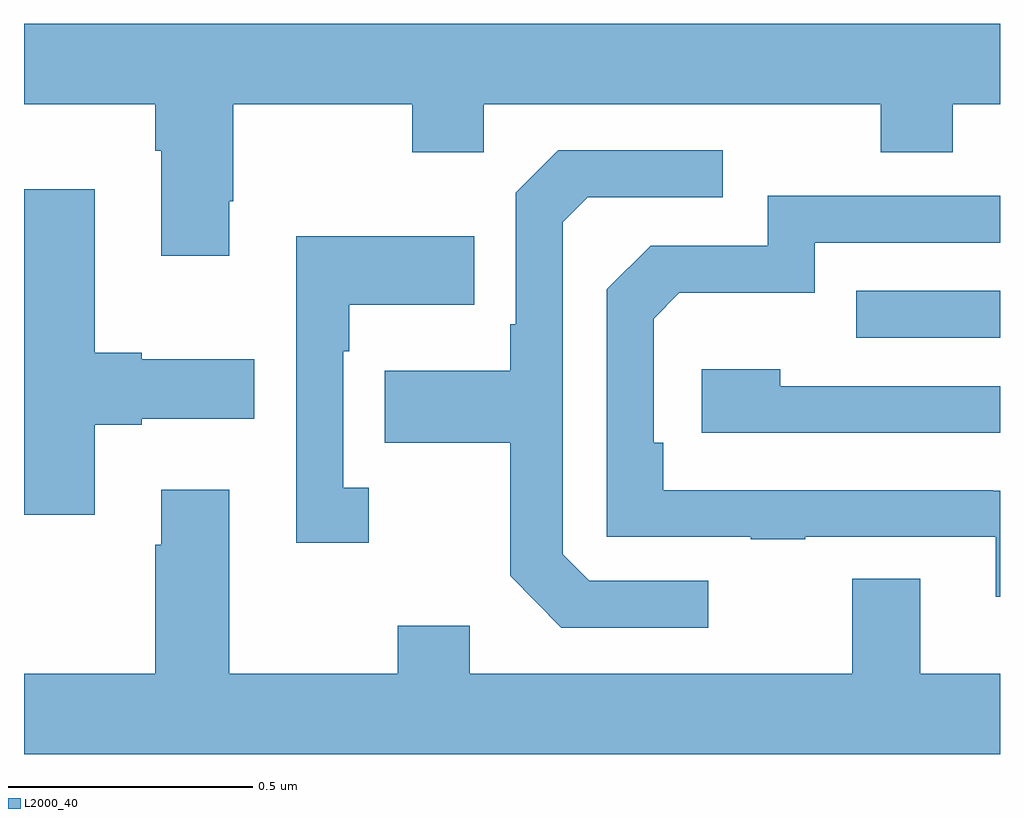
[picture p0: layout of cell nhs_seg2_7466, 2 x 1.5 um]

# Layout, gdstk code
import gdstk
lib = gdstk.Library(unit=1e-6, precision=1e-09)
def R(c, l, rs):  # rectangles x0, y0, x1, y1
    for r in rs: c.add(gdstk.rectangle(r[:2], r[2:], *l))
def P(c, l, *ps):  # polygons
    for p in ps: c.add(gdstk.Polygon(p, *l))
L2000_40 = (2000, 40)

nhs_seg2_7466 = lib.new_cell('nhs_seg2_7466')
R(nhs_seg2_7466, L2000_40, [(205.705,637.833,206,637.929)])
P(nhs_seg2_7466, L2000_40, [(204.421,638.113),(204.429,638.113),(204.429,638.312),(204.796,638.312),(204.796,638.213),(204.942,638.213),(204.942,638.312),(205.756,638.312),(205.756,638.213),(205.903,638.213),(205.903,638.312),(206,638.312),(206,638.476),(204,638.476),(204,638.312),(204.269,638.312),(204.269,638.216),(204.281,638.216),(204.281,638.001),(204.421,638.001)],
  [(205.402,637.335),(205.158,637.335),(205.104,637.389),(205.104,638.07),(205.155,638.121),(205.432,638.121),(205.432,638.217),(205.095,638.217),(205.008,638.13),(205.008,637.861),(204.996,637.861),(204.996,637.765),(204.739,637.765),(204.739,637.618),(204.996,637.618),(204.996,637.345),(205.101,637.239),(205.402,637.239)],
  [(204.145,637.655),(204.241,637.655),(204.241,637.667),(204.472,637.667),(204.472,637.789),(204.241,637.789),(204.241,637.802),(204.145,637.802),(204.145,638.137),(204,638.137),(204,637.47),(204.145,637.47)],
  [(206,637.52),(205.985,637.52),(205.985,637.521),(205.31,637.521),(205.31,637.618),(205.29,637.618),(205.29,637.872),(205.343,637.925),(205.62,637.925),(205.62,638.028),(206,638.028),(206,638.124),(205.524,638.124),(205.524,638.022),(205.284,638.022),(205.194,637.932),(205.194,637.425),(205.489,637.425),(205.489,637.42),(205.601,637.42),(205.601,637.425),(205.991,637.425),(205.991,637.302),(206,637.302)],
  [(204.706,637.526),(204.654,637.526),(204.654,637.805),(204.667,637.805),(204.667,637.901),(204.923,637.901),(204.923,638.041),(204.558,638.041),(204.558,637.413),(204.706,637.413)],
  [(206,637.734),(205.55,637.734),(205.55,637.768),(205.389,637.768),(205.389,637.638),(206,637.638)],
  [(206,637.144),(205.837,637.144),(205.837,637.339),(205.697,637.339),(205.697,637.144),(204.913,637.144),(204.913,637.243),(204.766,637.243),(204.766,637.144),(204.421,637.144),(204.421,637.522),(204.281,637.522),(204.281,637.409),(204.269,637.409),(204.269,637.144),(204,637.144),(204,636.98),(206,636.98)])

lib.write_gds('nhs_seg2_7466.gds')
